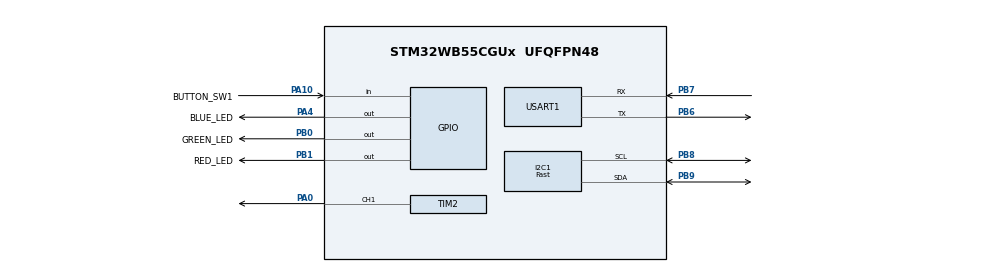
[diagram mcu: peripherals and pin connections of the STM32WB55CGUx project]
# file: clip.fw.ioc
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Dma.Request0=TIM2_CH1
Dma.TIM2_CH1.0.Direction=DMA_MEMORY_TO_PERIPH
Dma.TIM2_CH1.0.EventEnable=DISABLE
Dma.TIM2_CH1.0.Instance=DMA1_Channel1
Dma.TIM2_CH1.0.MemDataAlignment=DMA_MDATAALIGN_WORD
Dma.TIM2_CH1.0.MemInc=DMA_MINC_ENABLE
Dma.TIM2_CH1.0.Mode=DMA_NORMAL
Dma.TIM2_CH1.0.PeriphDataAlignment=DMA_PDATAALIGN_WORD
Dma.TIM2_CH1.0.PeriphInc=DMA_PINC_DISABLE
Dma.TIM2_CH1.0.Polarity=HAL_DMAMUX_REQ_GEN_RISING
Dma.TIM2_CH1.0.Priority=DMA_PRIORITY_LOW
Dma.TIM2_CH1.0.RequestNumber=1
Dma.TIM2_CH1.0.SignalID=NONE
Dma.TIM2_CH1.0.SyncEnable=DISABLE
Dma.TIM2_CH1.0.SyncPolarity=HAL_DMAMUX_SYNC_NO_EVENT
Dma.TIM2_CH1.0.SyncRequestNumber=1
Dma.TIM2_CH1.0.SyncSignalID=NONE
I2C1.I2C_Speed_Mode=I2C_Fast
I2C1.Timing=0x0060112F
Mcu.Family=STM32WB
Mcu.Name=STM32WB55CGUx
Mcu.Package=UFQFPN48
NVIC.DMA1_Channel1_IRQn=true\:0\:0\:false\:false\:true\:false\:true\:true
NVIC.HSEM_IRQn=true\:0\:0\:false\:false\:true\:false\:true\:true
NVIC.I2C1_EV_IRQn=true\:0\:0\:false\:false\:true\:true\:true\:true
NVIC.IPCC_C1_RX_IRQn=true\:0\:0\:false\:false\:true\:true\:true\:true
NVIC.IPCC_C1_TX_IRQn=true\:0\:0\:false\:false\:true\:true\:true\:true
NVIC.PriorityGroup=NVIC_PRIORITYGROUP_4
NVIC.RTC_WKUP_IRQn=true\:0\:0\:false\:false\:true\:true\:true\:true
OSC_IN.Mode=HSE-External-Oscillator
OSC_IN.Signal=RCC_OSC_IN
OSC_OUT.Mode=HSE-External-Oscillator
OSC_OUT.Signal=RCC_OSC_OUT
PA0.Signal=S_TIM2_CH1
PA10.GPIO_Label=BUTTON_SW1
PA10.Signal=GPIO_Input
PA13.Mode=Serial_Wire
PA13.Signal=SYS_JTMS-SWDIO
PA14.Mode=Serial_Wire
PA14.Signal=SYS_JTCK-SWCLK
PA4.GPIO_Label=BLUE_LED
PA4.Signal=GPIO_Output
PB0.GPIO_Label=GREEN_LED
PB0.Signal=GPIO_Output
PB1.GPIO_Label=RED_LED
PB1.Signal=GPIO_Output
PB6.Mode=Asynchronous
PB6.Signal=USART1_TX
PB7.Mode=Asynchronous
PB7.Signal=USART1_RX
PB8.Mode=I2C
PB8.Signal=I2C1_SCL
PB9.Mode=I2C
PB9.Signal=I2C1_SDA
PC14-OSC32_IN.Mode=LSE-External-Oscillator
PC14-OSC32_IN.Signal=RCC_OSC32_IN
PC15-OSC32_OUT.Mode=LSE-External-Oscillator
PC15-OSC32_OUT.Signal=RCC_OSC32_OUT
ProjectManager.HeapSize=0x200
ProjectManager.StackSize=0x1000
ProjectManager.TargetToolchain=CMake
RCC.AHBFreq_Value=32000000
RCC.APB1Freq_Value=32000000
RCC.APB1TimFreq_Value=32000000
RCC.APB2Freq_Value=32000000
RCC.APB2TimFreq_Value=32000000
RCC.APB3Freq_Value=16000000
RCC.CortexFreq_Value=32000000
RCC.HCLKFreq_Value=32000000
RCC.HSE_VALUE=32000000
RCC.HSI48_VALUE=48000000
RCC.HSI_VALUE=16000000
RCC.PLLN=24
RCC.PLLR=RCC_PLLR_DIV3
RCC.SYSCLKFreq_VALUE=32000000
RCC.SYSCLKSource=RCC_SYSCLKSOURCE_PLLCLK
RCC.VCOOutputFreq_Value=96000000
RF1.Mode=RF1_Activate
RF1.Signal=RF_RF1
SH.S_TIM2_CH1.0=TIM2_CH1,PWM Generation1 CH1
STM32_WPAN.AD_TYPE_COMPLETE_LOCAL_NAME=test-clip
STM32_WPAN.AD_TYPE_COMPLETE_LOCAL_NAME_LENGTH=10
STM32_WPAN.CFG_LSCLK_LSE=0
STM32_WPAN.CUSTOM_P2P_SERVER=Disabled
STM32_WPAN.CUSTOM_TEMPLATE=Enabled
STM32_WPAN.INCLUDE_AD_TYPE_COMPLETE_LOCAL_NAME=1
STM32_WPAN.NUMBER_OF_SERVICES=1
STM32_WPAN.PAIRING_PARAMETERS=OFF
STM32_WPAN.SERVICE1_CHAR1_GATT_NOTIFY_READ_REQ_AND_WAIT_FOR_APPL_RESP=\ 
STM32_WPAN.SERVICE1_CHAR1_GATT_NOTIFY_WRITE_REQ_AND_WAIT_FOR_APPL_RESP=\ 
STM32_WPAN.SERVICE1_CHAR1_LONG_NAME=write123
STM32_WPAN.SERVICE1_CHAR1_PROP_WRITE=CHAR_PROP_WRITE
STM32_WPAN.SERVICE1_CHAR1_SHORT_NAME=write123
STM32_WPAN.SERVICE1_LONG_NAME=test123
STM32_WPAN.SERVICE1_SHORT_NAME=test123
TIM2.Channel-PWM\ Generation1\ CH1=TIM_CHANNEL_1
TIM2.Period=39
USART1.VirtualMode-Asynchronous=VM_ASYNC
VP_HSEM_VS_HSEM.Mode=HSEM_Activate
VP_IPCC_VS_IPCC.Mode=IPCC_Activate
VP_MEMORYMAP_VS_MEMORYMAP.Mode=CurAppReg
VP_RNG_VS_RNG.Mode=RNG_Activate
VP_RTC_VS_RTC_Activate.Mode=RTC_Enabled
VP_RTC_VS_RTC_WakeUp_intern.Mode=WakeUp
VP_SEQUENCER_VS_SEQUENCER.Mode=SEQUENCER_Enabled
VP_STM32_WPAN_VS_BLE_HOST.Mode=STM32_WPAN_Enabled
VP_TIM2_VS_ClockSourceINT.Mode=Internal
VP_TINY_LPM_VS_TINY_LPM.Mode=TINY_LPM_Enabled
board=custom

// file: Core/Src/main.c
/* USER CODE BEGIN Header */
/**
  ******************************************************************************
  * @file           : main.c
  * @brief          : Main program body
  ******************************************************************************
  * @attention
  *
  * Copyright (c) 2026 STMicroelectronics.
  * All rights reserved.
  *
  * This software is licensed under terms that can be found in the LICENSE file
  * in the root directory of this software component.
  * If no LICENSE file comes with this software, it is provided AS-IS.
  *
  ******************************************************************************
  */
/* USER CODE END Header */
#include "main.h"
#include "dma.h"
#include "i2c.h"
#include "ipcc.h"
#include "rf.h"
#include "rng.h"
#include "rtc.h"
#include "tim.h"
#include "usart.h"
#include "gpio.h"

/* USER CODE BEGIN Includes */
#include "app/event_queue.h"
#include "app/timers.h"
#include "app/state_machine.h"
#include "app/log.h"
#include "bsp/bsp_i2c.h"
#include "drivers/imu.h"
#include "drivers/baro.h"
#include "drivers/ws2812b.h"
#include "app/animations.h"

#include "app/display.h"
/* USER CODE END Includes */

void SystemClock_Config(void);
void PeriphCommonClock_Config(void);

int main(void)
{

  /* USER CODE BEGIN 1 */
  #if defined(DEBUG) || defined(__DEBUG)
    /* Keep SWD alive in Sleep/Stop/Standby so CPU2's low-power requests
      don't disconnect the debugger. WB55-specific: also covers CPU2. */
    HAL_DBGMCU_EnableDBGSleepMode();
    HAL_DBGMCU_EnableDBGStopMode();
    HAL_DBGMCU_EnableDBGStandbyMode();
    LL_DBGMCU_APB1_GRP1_FreezePeriph(LL_DBGMCU_APB1_GRP1_IWDG_STOP);
    LL_DBGMCU_APB1_GRP1_FreezePeriph(LL_DBGMCU_APB1_GRP1_WWDG_STOP);
    LL_C2_DBGMCU_APB1_GRP1_FreezePeriph(LL_C2_DBGMCU_APB1_GRP1_IWDG_STOP);
  #endif
  /* USER CODE END 1 */

  /* MCU Configuration--------------------------------------------------------*/

  /* Reset of all peripherals, Initializes the Flash interface and the Systick. */
  HAL_Init();
  /* Config code for STM32_WPAN (HSE Tuning must be done before system clock configuration) */
  MX_APPE_Config();

  /* Configure the system clock */
  SystemClock_Config();

  /* Configure the peripherals common clocks */
  PeriphCommonClock_Config();

  /* IPCC initialisation */
  MX_IPCC_Init();

  /* Initialize all configured peripherals */
  MX_GPIO_Init();
  MX_DMA_Init();
  MX_I2C1_Init();
  MX_RNG_Init();
  MX_RTC_Init();
  MX_USART1_UART_Init();
  MX_TIM2_Init();
  MX_RF_Init();
  /* USER CODE BEGIN 2 */
  log_init();
  evq_init();
  timers_init();

  // OLED Display - Splashscreen & Init
  display_init();
  display_splash();

  /* WS2812B strip + animation engine */
  extern TIM_HandleTypeDef htim2;
  ws2812_cfg_t led_cfg = { .htim = &htim2, .channel = TIM_CHANNEL_1, .num_leds = 9 };
  ws2812_t * leds = ws2812_create(&led_cfg);
  ws2812_clear(leds);
  ws2812_show(leds);            /* start dark */
  anim_init(leds, 9);

  /* I2C bus + sensors */
  extern I2C_HandleTypeDef hi2c1;                 /* from i2c.c */
  bsp_i2c_t * i2c = bsp_i2c_create(&hi2c1);

  size_t  n_found = 0;
  uint8_t addrs[8];
  bsp_i2c_scan(i2c, addrs, sizeof(addrs), &n_found);  /* logs each ACK */

  imu_cfg_t  imu_cfg  = { .bus = i2c, .addr_7bit = 0x28 };
  baro_cfg_t baro_cfg = { .bus = i2c, .addr_7bit = 0x77 };
  imu_t  * imu  = imu_create(&imu_cfg);
  baro_t * baro = baro_create(&baro_cfg);

  state_machine_init(imu, baro);
  timer_arm(TIMER_SLOT_ANIM, 20, E_ANIM_TICK, true);   /* 50 Hz LED engine */

  LOG_INFO("boot complete, entering main loop");
  /* USER CODE END 2 */

  /* Init code for STM32_WPAN */
  MX_APPE_Init();

  /* Infinite loop */
  while (1)
  {
    MX_APPE_Process();

    /* USER CODE BEGIN 3 */
    event_t e;
    while (evq_pop(&e)) state_machine_dispatch(e);
    __WFI();
  }
  /* USER CODE END 3 */
}

void SystemClock_Config(void)
{
  RCC_OscInitTypeDef RCC_OscInitStruct = {0};
  RCC_ClkInitTypeDef RCC_ClkInitStruct = {0};

  /** Configure the main internal regulator output voltage
  */
  __HAL_PWR_VOLTAGESCALING_CONFIG(PWR_REGULATOR_VOLTAGE_SCALE1);

  /** Initializes the RCC Oscillators according to the specified parameters
  * in the RCC_OscInitTypeDef structure.
  */
  RCC_OscInitStruct.OscillatorType = RCC_OSCILLATORTYPE_HSI|RCC_OSCILLATORTYPE_LSI1
                              |RCC_OSCILLATORTYPE_HSE|RCC_OSCILLATORTYPE_MSI;
  RCC_OscInitStruct.HSEState = RCC_HSE_ON;
  RCC_OscInitStruct.HSIState = RCC_HSI_ON;
  RCC_OscInitStruct.MSIState = RCC_MSI_ON;
  RCC_OscInitStruct.HSICalibrationValue = RCC_HSICALIBRATION_DEFAULT;
  RCC_OscInitStruct.MSICalibrationValue = RCC_MSICALIBRATION_DEFAULT;
  RCC_OscInitStruct.MSIClockRange = RCC_MSIRANGE_6;
  RCC_OscInitStruct.LSIState = RCC_LSI_ON;
  RCC_OscInitStruct.PLL.PLLState = RCC_PLL_ON;
  RCC_OscInitStruct.PLL.PLLSource = RCC_PLLSOURCE_MSI;
  RCC_OscInitStruct.PLL.PLLM = RCC_PLLM_DIV1;
  RCC_OscInitStruct.PLL.PLLN = 24;
  RCC_OscInitStruct.PLL.PLLP = RCC_PLLP_DIV2;
  RCC_OscInitStruct.PLL.PLLR = RCC_PLLR_DIV3;
  RCC_OscInitStruct.PLL.PLLQ = RCC_PLLQ_DIV2;
  if (HAL_RCC_OscConfig(&RCC_OscInitStruct) != HAL_OK)
  {
    Error_Handler();
  }

  /** Configure the SYSCLKSource, HCLK, PCLK1 and PCLK2 clocks dividers
  */
  RCC_ClkInitStruct.ClockType = RCC_CLOCKTYPE_HCLK4|RCC_CLOCKTYPE_HCLK2
                              |RCC_CLOCKTYPE_HCLK|RCC_CLOCKTYPE_SYSCLK
                              |RCC_CLOCKTYPE_PCLK1|RCC_CLOCKTYPE_PCLK2;
  RCC_ClkInitStruct.SYSCLKSource = RCC_SYSCLKSOURCE_PLLCLK;
  RCC_ClkInitStruct.AHBCLKDivider = RCC_SYSCLK_DIV1;
  RCC_ClkInitStruct.APB1CLKDivider = RCC_HCLK_DIV1;
  RCC_ClkInitStruct.APB2CLKDivider = RCC_HCLK_DIV1;
  RCC_ClkInitStruct.AHBCLK2Divider = RCC_SYSCLK_DIV1;
  RCC_ClkInitStruct.AHBCLK4Divider = RCC_SYSCLK_DIV1;

  if (HAL_RCC_ClockConfig(&RCC_ClkInitStruct, FLASH_LATENCY_1) != HAL_OK)
  {
    Error_Handler();
  }
}

void PeriphCommonClock_Config(void)
{
  RCC_PeriphCLKInitTypeDef PeriphClkInitStruct = {0};

  /** Initializes the peripherals clock
  */
  PeriphClkInitStruct.PeriphClockSelection = RCC_PERIPHCLK_SMPS|RCC_PERIPHCLK_RFWAKEUP;
  PeriphClkInitStruct.RFWakeUpClockSelection = RCC_RFWKPCLKSOURCE_HSE_DIV1024;
  PeriphClkInitStruct.SmpsClockSelection = RCC_SMPSCLKSOURCE_HSI;
  PeriphClkInitStruct.SmpsDivSelection = RCC_SMPSCLKDIV_RANGE1;

  if (HAL_RCCEx_PeriphCLKConfig(&PeriphClkInitStruct) != HAL_OK)
  {
    Error_Handler();
  }
}

void Error_Handler(void)
{
  __disable_irq();
  while (1)
  {
  }
}
